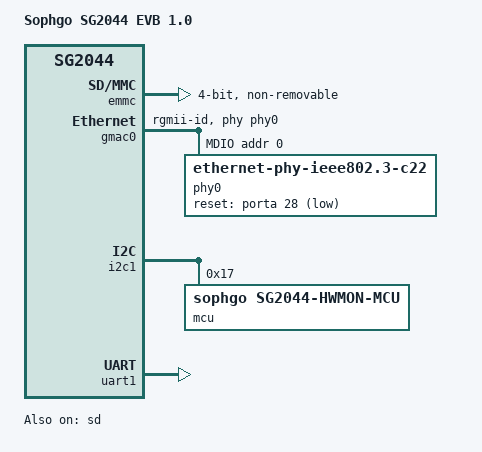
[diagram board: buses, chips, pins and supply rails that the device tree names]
// SPDX-License-Identifier: (GPL-2.0 OR MIT)
/*
 * Copyright (C) 2024 Inochi Amaoto <inochiama@outlook.com>
 */

/dts-v1/;

#include <dt-bindings/leds/common.h>

#include "sg2044.dtsi"
#include "sg2044-clocks.dtsi"

/ {
	model = "Sophgo SG2044 EVB 1.0";
	compatible = "sophgo,sg2044-evb", "sophgo,sg2044";

	aliases {
		serial0 = &uart0;
		serial1 = &uart1;
		serial2 = &uart2;
		serial3 = &uart3;
	};

	chosen {
		bootargs = "console=ttyS1,115200n8 earlycon ignore_loglevel initrd=0x8b000000,32M no5lvl";
		stdout-path = "serial1:115200n8";
	};
};

&osc {
	clock-frequency = <25000000>;
};

&emmc {
	bus-width = <4>;
	no-sdio;
	no-sd;
	non-removable;
	wp-inverted;
	status = "okay";
};

&gmac0 {
	phy-handle = <&phy0>;
	phy-mode = "rgmii-id";
	status = "okay";

	mdio {
		phy0: phy@0 {
			compatible = "ethernet-phy-ieee802.3-c22";
			reg = <0>;
		};
	};
};

&phy0 {
	reset-gpios = <&porta 28 GPIO_ACTIVE_LOW>;
	reset-assert-us = <10000>;
	reset-deassert-us = <10000>;
	rx-internal-delay-ps = <2050>;
};

&i2c1 {
	status = "okay";

	mcu: syscon@17 {
		compatible = "sophgo,sg2044-hwmon-mcu", "sophgo,sg2042-hwmon-mcu";
		reg = <0x17>;
		#thermal-sensor-cells = <1>;
	};
};

&sd {
	bus-width = <4>;
	no-sdio;
	no-mmc;
	wp-inverted;
	status = "okay";
};

&uart1 {
	status = "okay";
};
